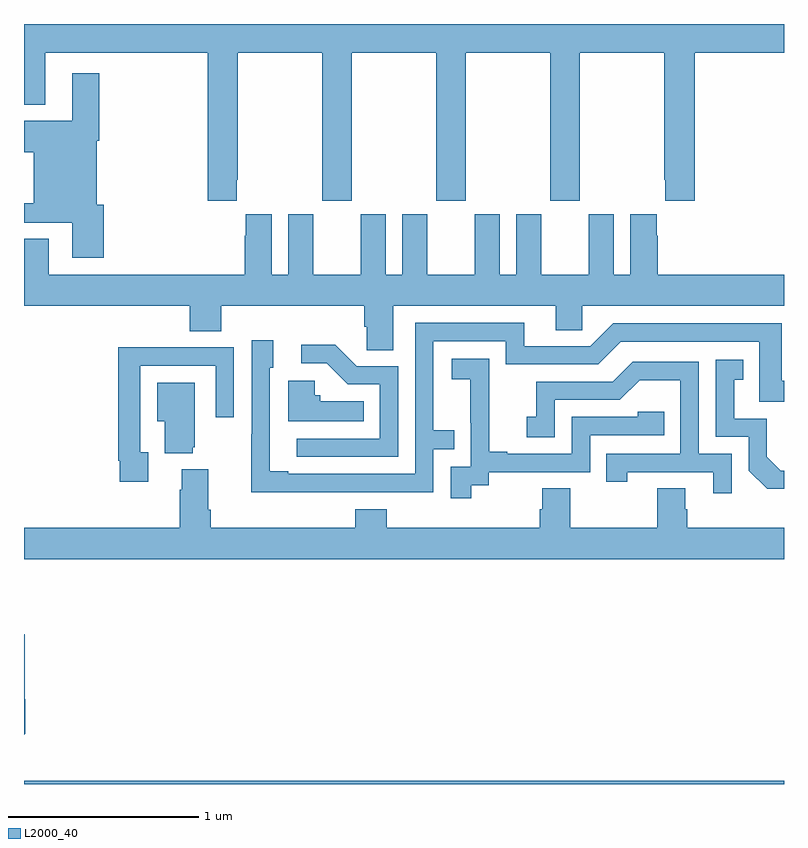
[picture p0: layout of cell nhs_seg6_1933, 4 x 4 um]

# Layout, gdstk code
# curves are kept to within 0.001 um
import gdstk
lib = gdstk.Library(unit=1e-6, precision=1e-09)
def R(c, l, rs):  # rectangles x0, y0, x1, y1
    for r in rs: c.add(gdstk.rectangle(r[:2], r[2:], *l))
def P(c, l, *ps):  # polygons
    for p in ps: c.add(gdstk.Polygon(p, *l))
L2000_40 = (2000, 40)

nhs_seg6_1933 = lib.new_cell('nhs_seg6_1933')
R(nhs_seg6_1933, L2000_40, [(227,931.5,231,931.516)])
P(nhs_seg6_1933, L2000_40, [(230.371,934.681),(230.375,934.681),(230.375,934.569),(230.531,934.569),(230.531,935.348),(231,935.348),(231,935.5),(227,935.5),(227,935.075),(227.113,935.075),(227.113,935.348),(227.966,935.348),(227.966,934.569),(228.121,934.569),(228.121,934.681),(228.126,934.681),(228.126,935.348),(228.571,935.348),(228.571,934.569),(228.726,934.569),(228.726,935.348),(229.171,935.348),(229.171,934.569),(229.326,934.569),(229.326,935.348),(229.771,935.348),(229.771,934.569),(229.926,934.569),(229.926,935.348),(230.371,935.348)],
  [(227.42,934.548),(227.383,934.548),(227.383,934.886),(227.396,934.886),(227.396,935.242),(227.255,935.242),(227.255,934.99),(227,934.99),(227,934.826),(227.051,934.826),(227.051,934.556),(227,934.556),(227,934.455),(227.255,934.455),(227.255,934.269),(227.42,934.269)],
  [(228.943,934.016),(229.799,934.016),(229.799,933.889),(229.938,933.889),(229.938,934.016),(231,934.016),(231,934.18),(230.336,934.18),(230.336,934.385),(230.329,934.385),(230.329,934.498),(230.192,934.498),(230.192,934.18),(230.104,934.18),(230.104,934.498),(229.973,934.498),(229.973,934.18),(229.723,934.18),(229.723,934.498),(229.592,934.498),(229.592,934.18),(229.504,934.18),(229.504,934.498),(229.373,934.498),(229.373,934.18),(229.123,934.18),(229.123,934.498),(228.992,934.498),(228.992,934.18),(228.904,934.18),(228.904,934.498),(228.773,934.498),(228.773,934.18),(228.523,934.18),(228.523,934.498),(228.392,934.498),(228.392,934.18),(228.304,934.18),(228.304,934.498),(228.167,934.498),(228.167,934.385),(228.161,934.385),(228.161,934.18),(227.131,934.18),(227.131,934.37),(227,934.37),(227,934.016),(227.873,934.016),(227.873,933.883),(228.038,933.883),(228.038,934.016),(228.791,934.016),(228.791,933.907),(228.804,933.907),(228.804,933.784),(228.943,933.784)],
  [(228.659,933.036),(229.155,933.036),(229.155,933.261),(229.265,933.261),(229.265,933.362),(229.155,933.362),(229.155,933.831),(229.536,933.831),(229.536,933.708),(230.022,933.708),(230.142,933.828),(230.871,933.828),(230.871,933.513),(231,933.513),(231,933.622),(230.987,933.622),(230.987,933.924),(230.1,933.924),(229.98,933.804),(229.633,933.804),(229.633,933.927),(229.059,933.927),(229.059,933.132),(228.391,933.132),(228.391,933.145),(228.294,933.145),(228.294,933.69),(228.313,933.69),(228.313,933.835),(228.198,933.835),(228.198,933.341),(228.196,933.341),(228.196,933.035)],
  [(228.969,933.699),(228.75,933.699),(228.637,933.812),(228.459,933.812),(228.459,933.714),(228.593,933.714),(228.704,933.603),(228.873,933.603),(228.873,933.318),(228.435,933.318),(228.435,933.222),(228.969,933.222)],
  [(227.653,933.246),(227.613,933.246),(227.613,933.702),(228.009,933.702),(228.009,933.429),(228.105,933.429),(228.105,933.798),(227.789,933.798),(227.789,933.8),(227.497,933.8),(227.497,933.202),(227.505,933.202),(227.505,933.09),(227.653,933.09)],
  [(229.354,933.073),(229.446,933.073),(229.446,933.141),(229.98,933.141),(229.98,933.336),(230.369,933.336),(230.369,933.459),(230.229,933.459),(230.229,933.432),(229.884,933.432),(229.884,933.237),(229.543,933.237),(229.543,933.25),(229.448,933.25),(229.448,933.533),(229.449,933.533),(229.449,933.739),(229.251,933.739),(229.251,933.629),(229.349,933.629),(229.349,933.401),(229.35,933.401),(229.35,933.171),(229.245,933.171),(229.245,933.003),(229.354,933.003)],
  [(231,933.15),(230.982,933.15),(230.91,933.222),(230.91,933.423),(230.737,933.423),(230.737,933.627),(230.786,933.627),(230.786,933.733),(230.64,933.733),(230.64,933.327),(230.814,933.327),(230.814,933.15),(230.912,933.053),(231,933.053)],
  [(230.724,933.237),(230.55,933.237),(230.55,933.723),(230.204,933.723),(230.099,933.618),(229.696,933.618),(229.696,933.433),(229.647,933.433),(229.647,933.324),(229.794,933.324),(229.794,933.522),(230.136,933.522),(230.24,933.626),(230.454,933.626),(230.454,933.237),(230.065,933.237),(230.065,933.09),(230.176,933.09),(230.176,933.141),(230.627,933.141),(230.627,933.03),(230.724,933.03)],
  [(228.788,933.514),(228.558,933.514),(228.558,933.546),(228.531,933.546),(228.531,933.622),(228.392,933.622),(228.392,933.41),(228.788,933.41)],
  [(227.888,933.273),(227.899,933.273),(227.899,933.613),(227.702,933.613),(227.702,933.41),(227.741,933.41),(227.741,933.242),(227.888,933.242)],
  [(230.332,933.056),(230.332,932.848),(229.875,932.848),(229.875,933.056),(229.727,933.056),(229.727,932.946),(229.715,932.946),(229.715,932.848),(228.908,932.848),(228.908,932.947),(228.743,932.947),(228.743,932.848),(227.984,932.848),(227.984,932.944),(227.971,932.944),(227.971,933.157),(227.831,933.157),(227.831,933.05),(227.819,933.05),(227.819,932.848),(227,932.848),(227,932.684),(231,932.684),(231,932.848),(230.492,932.848),(230.492,932.946),(230.479,932.946),(230.479,933.056)],
  [(227.006,931.764),(227.006,931.946),(227.003,931.946),(227.003,932.289),(227,932.289),(227,931.758)])

lib.write_gds('nhs_seg6_1933.gds')
